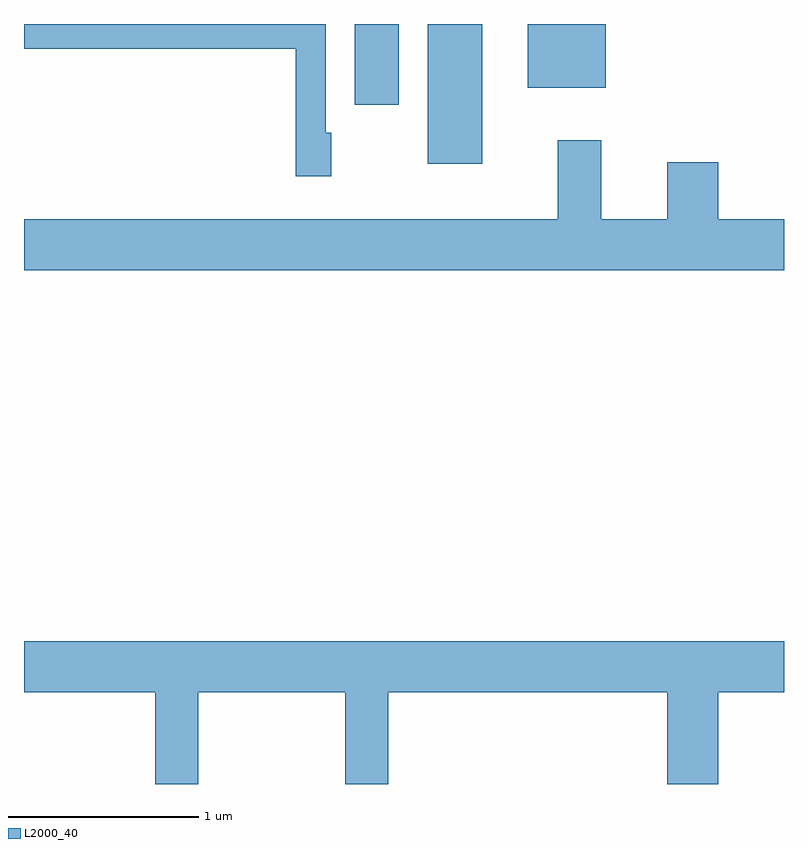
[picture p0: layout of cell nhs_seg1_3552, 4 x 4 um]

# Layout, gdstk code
import gdstk
lib = gdstk.Library(unit=1e-6, precision=1e-09)
def R(c, l, rs):  # rectangles x0, y0, x1, y1
    for r in rs: c.add(gdstk.rectangle(r[:2], r[2:], *l))
def P(c, l, *ps):  # polygons
    for p in ps: c.add(gdstk.Polygon(p, *l))
L2000_40 = (2000, 40)

nhs_seg1_3552 = lib.new_cell('nhs_seg1_3552')
R(nhs_seg1_3552, L2000_40, [(293.736,948.976,294.024,949.712), (293.351,949.286,293.584,949.712), (294.261,949.376,294.674,949.712)])
P(nhs_seg1_3552, L2000_40, [(293.229,949.139),(293.199,949.139),(293.199,949.712),(291.611,949.712),(291.611,949.581),(293.041,949.581),(293.041,948.911),(293.229,948.911)],
  [(295.611,948.684),(295.264,948.684),(295.264,948.984),(294.996,948.984),(294.996,948.684),(294.649,948.684),(294.649,949.099),(294.421,949.099),(294.421,948.684),(291.611,948.684),(291.611,948.416),(295.611,948.416)],
  [(292.529,946.196),(293.301,946.196),(293.301,945.712),(293.529,945.712),(293.529,946.196),(294.996,946.196),(294.996,945.712),(295.264,945.712),(295.264,946.196),(295.611,946.196),(295.611,946.464),(291.611,946.464),(291.611,946.196),(292.301,946.196),(292.301,945.712),(292.529,945.712)])

lib.write_gds('nhs_seg1_3552.gds')
